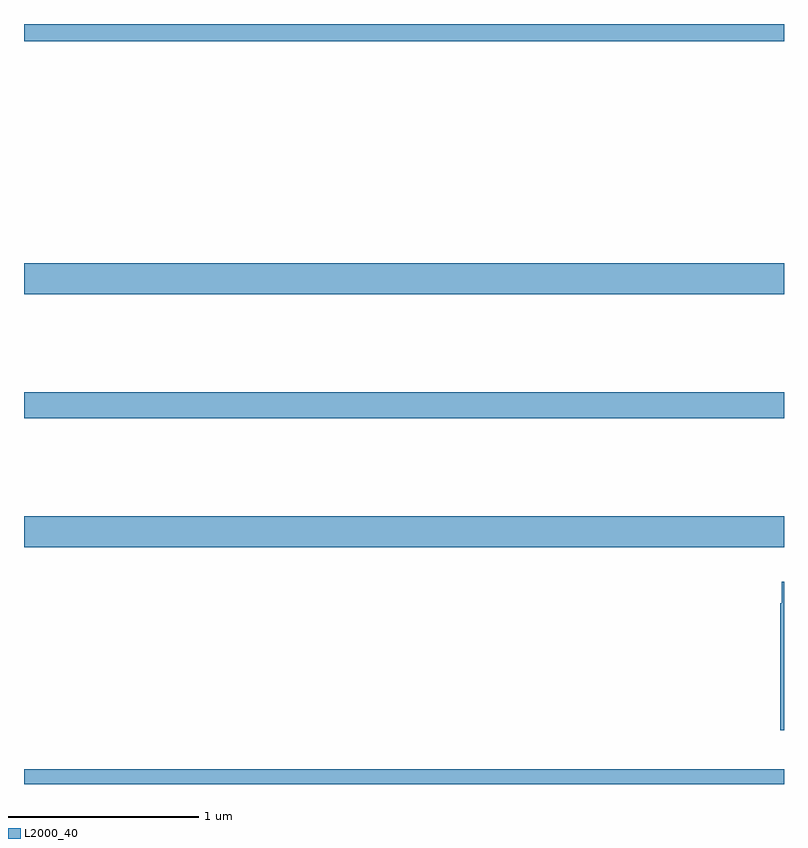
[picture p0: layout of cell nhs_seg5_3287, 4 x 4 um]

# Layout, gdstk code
import gdstk
lib = gdstk.Library(unit=1e-6, precision=1e-09)
def R(c, l, rs):  # rectangles x0, y0, x1, y1
    for r in rs: c.add(gdstk.rectangle(r[:2], r[2:], *l))
def P(c, l, *ps):  # polygons
    for p in ps: c.add(gdstk.Polygon(p, *l))
L2000_40 = (2000, 40)

nhs_seg5_3287 = lib.new_cell('nhs_seg5_3287')
R(nhs_seg5_3287, L2000_40, [(301,904.799,305,904.876), (301,906.044,305,906.208), (301,906.724,305,906.86), (301,907.376,305,907.54), (301,908.708,305,908.799)])
P(nhs_seg5_3287, L2000_40, [(305,905.863),(304.989,905.863),(304.989,905.75),(304.981,905.75),(304.981,905.081),(305,905.081)])

lib.write_gds('nhs_seg5_3287.gds')
